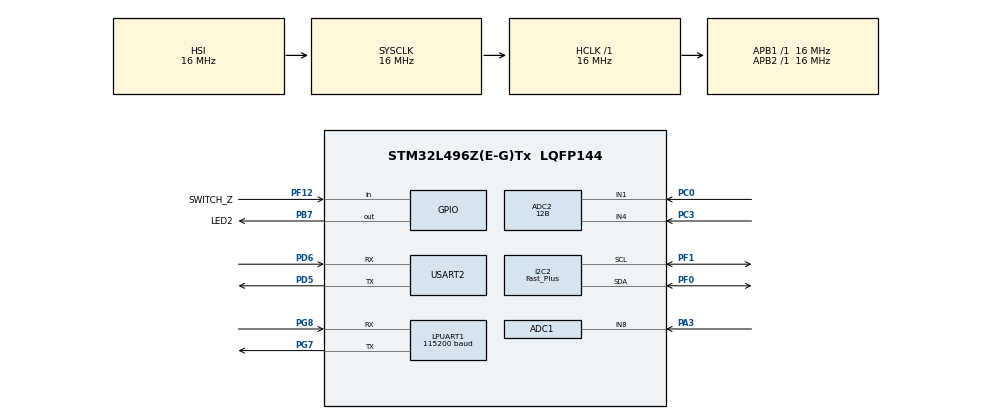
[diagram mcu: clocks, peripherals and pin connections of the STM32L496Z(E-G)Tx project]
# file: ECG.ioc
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ADC1.Channel-32\#ChannelRegularConversion=ADC_CHANNEL_8
ADC1.ClockPrescaler=ADC_CLOCK_ASYNC_DIV1
ADC1.ContinuousConvMode=ENABLE
ADC1.DMAContinuousRequests=DISABLE
ADC1.DataAlign=ADC_DATAALIGN_RIGHT
ADC1.DiscontinuousConvMode=DISABLE
ADC1.EOCSelection=ADC_EOC_SINGLE_CONV
ADC1.EnableAnalogWatchDog1=false
ADC1.EnableAnalogWatchDog2=false
ADC1.EnableAnalogWatchDog3=false
ADC1.EnableInjectedConversion=DISABLE
ADC1.EnableRegularConversion=ENABLE
ADC1.ExternalTrigConv=ADC_SOFTWARE_START
ADC1.ExternalTrigConvEdge=ADC_EXTERNALTRIGCONVEDGE_NONE
ADC1.LowPowerAutoWait=DISABLE
ADC1.NbrOfConversion=1
ADC1.NbrOfConversionFlag=1
ADC1.OffsetNumber-32\#ChannelRegularConversion=ADC_OFFSET_NONE
ADC1.Overrun=ADC_OVR_DATA_PRESERVED
ADC1.OversamplingMode=DISABLE
ADC1.Rank-32\#ChannelRegularConversion=1
ADC1.Resolution=ADC_RESOLUTION_12B
ADC1.SamplingTime-32\#ChannelRegularConversion=ADC_SAMPLETIME_47CYCLES_5
ADC1.ScanConvMode=ADC_SCAN_DISABLE
ADC1.master=1
ADC2.Channel-0\#ChannelRegularConversion=ADC_CHANNEL_1
ADC2.Channel-1\#ChannelRegularConversion=ADC_CHANNEL_4
ADC2.ClockPrescaler=ADC_CLOCK_ASYNC_DIV1
ADC2.ContinuousConvMode=DISABLE
ADC2.DMAContinuousRequests=DISABLE
ADC2.DataAlign=ADC_DATAALIGN_RIGHT
ADC2.DiscontinuousConvMode=DISABLE
ADC2.EOCSelection=ADC_EOC_SEQ_CONV
ADC2.EnableAnalogWatchDog1=false
ADC2.EnableAnalogWatchDog2=false
ADC2.EnableAnalogWatchDog3=false
ADC2.EnableInjectedConversion=DISABLE
ADC2.EnableRegularConversion=ENABLE
ADC2.ExternalTrigConv=ADC_SOFTWARE_START
ADC2.ExternalTrigConvEdge=ADC_EXTERNALTRIGCONVEDGE_NONE
ADC2.LowPowerAutoWait=DISABLE
ADC2.NbrOfConversion=2
ADC2.NbrOfConversionFlag=1
ADC2.OffsetNumber-0\#ChannelRegularConversion=ADC_OFFSET_NONE
ADC2.OffsetNumber-1\#ChannelRegularConversion=ADC_OFFSET_NONE
ADC2.Overrun=ADC_OVR_DATA_PRESERVED
ADC2.OversamplingMode=DISABLE
ADC2.Rank-0\#ChannelRegularConversion=1
ADC2.Rank-1\#ChannelRegularConversion=2
ADC2.Resolution=ADC_RESOLUTION_12B
ADC2.SamplingTime-0\#ChannelRegularConversion=ADC_SAMPLETIME_2CYCLES_5
ADC2.SamplingTime-1\#ChannelRegularConversion=ADC_SAMPLETIME_2CYCLES_5
ADC2.ScanConvMode=ADC_SCAN_ENABLE
Dma.ADC1.1.Direction=DMA_PERIPH_TO_MEMORY
Dma.ADC1.1.Instance=DMA1_Channel1
Dma.ADC1.1.MemDataAlignment=DMA_MDATAALIGN_HALFWORD
Dma.ADC1.1.MemInc=DMA_MINC_ENABLE
Dma.ADC1.1.Mode=DMA_NORMAL
Dma.ADC1.1.PeriphDataAlignment=DMA_PDATAALIGN_HALFWORD
Dma.ADC1.1.PeriphInc=DMA_PINC_DISABLE
Dma.ADC1.1.Priority=DMA_PRIORITY_HIGH
Dma.ADC2.0.Direction=DMA_PERIPH_TO_MEMORY
Dma.ADC2.0.Instance=DMA1_Channel2
Dma.ADC2.0.MemDataAlignment=DMA_MDATAALIGN_HALFWORD
Dma.ADC2.0.MemInc=DMA_MINC_ENABLE
Dma.ADC2.0.Mode=DMA_NORMAL
Dma.ADC2.0.PeriphDataAlignment=DMA_PDATAALIGN_HALFWORD
Dma.ADC2.0.PeriphInc=DMA_PINC_DISABLE
Dma.ADC2.0.Priority=DMA_PRIORITY_HIGH
Dma.Request0=ADC2
Dma.Request1=ADC1
I2C2.I2C_Speed_Mode=I2C_Fast_Plus
I2C2.Timing=0x00000107
LPUART1.BaudRate=115200
LPUART1.WordLength=UART_WORDLENGTH_8B
Mcu.Family=STM32L4
Mcu.Name=STM32L496Z(E-G)Tx
Mcu.Package=LQFP144
NVIC.DMA1_Channel1_IRQn=true\:0\:0\:false\:false\:true\:false
NVIC.DMA1_Channel2_IRQn=true\:0\:0\:false\:false\:true\:false
NVIC.LPUART1_IRQn=true\:0\:0\:false\:false\:true\:true
NVIC.PriorityGroup=NVIC_PRIORITYGROUP_4
NVIC.USART2_IRQn=true\:0\:0\:false\:false\:true\:true
PA13\ (JTMS/SWDIO).Mode=Serial_Wire
PA13\ (JTMS/SWDIO).Signal=SYS_JTMS-SWDIO
PA14\ (JTCK/SWCLK).Mode=Serial_Wire
PA14\ (JTCK/SWCLK).Signal=SYS_JTCK-SWCLK
PA3.Signal=ADCx_IN8
PB7.GPIO_Label=LED2
PB7.Signal=GPIO_Output
PC0.Signal=ADCx_IN1
PC3.Signal=ADCx_IN4
PD5.Mode=Asynchronous
PD5.Signal=USART2_TX
PD6.Mode=Asynchronous
PD6.Signal=USART2_RX
PF0.Mode=I2C
PF0.Signal=I2C2_SDA
PF1.Mode=I2C
PF1.Signal=I2C2_SCL
PF12.GPIO_Label=SWITCH_Z
PF12.Signal=GPIO_Input
PG7.Mode=Asynchronous
PG7.Signal=LPUART1_TX
PG8.Mode=Asynchronous
PG8.Signal=LPUART1_RX
ProjectManager.HeapSize=0x200
ProjectManager.StackSize=0x400
ProjectManager.TargetToolchain=MDK-ARM V5
RCC.ADCFreq_Value=32000000
RCC.AHBFreq_Value=16000000
RCC.APB1Freq_Value=16000000
RCC.APB1TimFreq_Value=16000000
RCC.APB2Freq_Value=16000000
RCC.APB2TimFreq_Value=16000000
RCC.CortexFreq_Value=16000000
RCC.HCLKFreq_Value=16000000
RCC.HSE_VALUE=8000000
RCC.HSI48_VALUE=48000000
RCC.HSI_VALUE=16000000
RCC.LSE_VALUE=32768
RCC.MSI_VALUE=4000000
RCC.PLLSAI1N=16
RCC.SYSCLKFreq_VALUE=16000000
RCC.SYSCLKSource=RCC_SYSCLKSOURCE_HSI
RCC.USBFreq_Value=32000000
RCC.VCOOutputFreq_Value=32000000
SH.ADCx_IN1.0=ADC2_IN1,IN1-Single-Ended
SH.ADCx_IN4.0=ADC2_IN4,IN4-Single-Ended
SH.ADCx_IN8.0=ADC1_IN8,IN8-Single-Ended
USART2.VirtualMode-Asynchronous=VM_ASYNC
USART2.WordLength=WORDLENGTH_8B
board=ECG

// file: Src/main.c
/**
  ******************************************************************************
  * @file           : main.c
  * @brief          : Main program body
  ******************************************************************************
  ** This notice applies to any and all portions of this file
  * that are not between comment pairs USER CODE BEGIN and
  * USER CODE END. Other portions of this file, whether
  * inserted by the user or by software development tools
  * are owned by their respective copyright owners.
  *
  * COPYRIGHT(c) 2023 STMicroelectronics
  *
  * Redistribution and use in source and binary forms, with or without modification,
  * are permitted provided that the following conditions are met:
  *   1. Redistributions of source code must retain the above copyright notice,
  *      this list of conditions and the following disclaimer.
  *   2. Redistributions in binary form must reproduce the above copyright notice,
  *      this list of conditions and the following disclaimer in the documentation
  *      and/or other materials provided with the distribution.
  *   3. Neither the name of STMicroelectronics nor the names of its contributors
  *      may be used to endorse or promote products derived from this software
  *      without specific prior written permission.
  *
  * THIS SOFTWARE IS PROVIDED BY THE COPYRIGHT HOLDERS AND CONTRIBUTORS "AS IS"
  * AND ANY EXPRESS OR IMPLIED WARRANTIES, INCLUDING, BUT NOT LIMITED TO, THE
  * IMPLIED WARRANTIES OF MERCHANTABILITY AND FITNESS FOR A PARTICULAR PURPOSE ARE
  * DISCLAIMED. IN NO EVENT SHALL THE COPYRIGHT HOLDER OR CONTRIBUTORS BE LIABLE
  * FOR ANY DIRECT, INDIRECT, INCIDENTAL, SPECIAL, EXEMPLARY, OR CONSEQUENTIAL
  * DAMAGES (INCLUDING, BUT NOT LIMITED TO, PROCUREMENT OF SUBSTITUTE GOODS OR
  * SERVICES; LOSS OF USE, DATA, OR PROFITS; OR BUSINESS INTERRUPTION) HOWEVER
  * CAUSED AND ON ANY THEORY OF LIABILITY, WHETHER IN CONTRACT, STRICT LIABILITY,
  * OR TORT (INCLUDING NEGLIGENCE OR OTHERWISE) ARISING IN ANY WAY OUT OF THE USE
  * OF THIS SOFTWARE, EVEN IF ADVISED OF THE POSSIBILITY OF SUCH DAMAGE.
  *
  ******************************************************************************
  */
#include "main.h"
#include "stm32l4xx_hal.h"
#include "adc.h"
#include "dma.h"
#include "i2c.h"
#include "usart.h"
#include "gpio.h"

/* USER CODE BEGIN Includes */
#include "oled.h"
#include "cli.h"
#include "menuconfig.h"
#include "ecg.h"
#include "serial.h"

#include "taskmy.h"
/* USER CODE END Includes */

/* USER CODE BEGIN PV */
/* Private variables ---------------------------------------------------------*/
extern UART_HandleTypeDef hlpuart1;
extern UART_HandleTypeDef huart2;

extern Serial serial2;
extern Serial seriallp1;

extern int flag;
/* USER CODE END PV */

void SystemClock_Config(void);

/* USER CODE BEGIN PFP */
/* Private function prototypes -----------------------------------------------*/

/* USER CODE END PFP */

int main(void)
{

  /* MCU Configuration----------------------------------------------------------*/

  /* Reset of all peripherals, Initializes the Flash interface and the Systick. */
  HAL_Init();

  /* Configure the system clock */
  SystemClock_Config();

  /* Initialize all configured peripherals */
  MX_GPIO_Init();
  MX_DMA_Init();
  MX_I2C2_Init();
  MX_USART2_UART_Init();
  MX_LPUART1_UART_Init();
  MX_ADC1_Init();
  MX_ADC2_Init();
  /* USER CODE BEGIN 2 */
	/* 启动LPUART1接收中断 */
  while(HAL_UART_Receive_IT(&hlpuart1, (uint8_t *)&seriallp1.dataRxBuffer, 1)!=HAL_OK);
  /* 启动USART2接收中断 */
  while(HAL_UART_Receive_IT(&huart2, (uint8_t *)&serial2.dataRxBuffer, 1)!=HAL_OK);
  /* 启动ADC2校准*/
  HAL_ADCEx_Calibration_Start(&hadc2,ADC_SINGLE_ENDED);
  /* 启动ADC1校准*/
  HAL_ADCEx_Calibration_Start(&hadc1,ADC_SINGLE_ENDED);

  AppTaskCreateStart();
  //
	//MenuShow_Load_Shell(NULL);
  //MenuShow_Exit_Shell(NULL);
	//MenuShow_Exit_Info(NULL);
	//MenuShow_Switch_Out_Info(NULL);
	//MenuShow_Switch_In_WiFi(NULL);
	//
			//HAL_GPIO_WritePin(LED2_GPIO_Port, LED2_Pin, GPIO_PIN_SET);
  /* USER CODE END 2 */

  /* Infinite loop */
  /* USER CODE BEGIN WHILE */
  /*
	while (1){
    ECG_GetValue();
    Serial_SendNum(hlpuart1,data[0]);
    //WIFI_MQTT_PublishNum("ECG",data[0]);
    //OLED_DrawNumber(0,0,data[0],ASC2_1206);
    HAL_Delay(5);  //采样频率约为500Hz
  }*/
		/*
		while(Serial_ReadAvailable(huart2))
		{
			uint8_t data = Serial_ReadChar(huart2);
			Serial_SendChar(hlpuart1,data);
		}*/
		//cli_Check();
		//WIFI_MQTT_PublishNum("ECG",i++);
		//HAL_Delay(200);
  /* USER CODE END WHILE */

  /* USER CODE BEGIN 3 */
		//HAL_GPIO_WritePin(LED2_GPIO_Port, LED2_Pin, GPIO_PIN_RESET);
		//HAL_Delay(500);
		//HAL_GPIO_WritePin(LED2_GPIO_Port, LED2_Pin, GPIO_PIN_SET);
		//HAL_Delay(500);
  /* USER CODE END 3 */

}

void SystemClock_Config(void)
{

  RCC_OscInitTypeDef RCC_OscInitStruct;
  RCC_ClkInitTypeDef RCC_ClkInitStruct;
  RCC_PeriphCLKInitTypeDef PeriphClkInit;

    /**Initializes the CPU, AHB and APB busses clocks
    */
  RCC_OscInitStruct.OscillatorType = RCC_OSCILLATORTYPE_HSI|RCC_OSCILLATORTYPE_MSI;
  RCC_OscInitStruct.HSIState = RCC_HSI_ON;
  RCC_OscInitStruct.HSICalibrationValue = 64;
  RCC_OscInitStruct.MSIState = RCC_MSI_ON;
  RCC_OscInitStruct.MSICalibrationValue = 0;
  RCC_OscInitStruct.MSIClockRange = RCC_MSIRANGE_6;
  RCC_OscInitStruct.PLL.PLLState = RCC_PLL_NONE;
  if (HAL_RCC_OscConfig(&RCC_OscInitStruct) != HAL_OK)
  {
    _Error_Handler(__FILE__, __LINE__);
  }

    /**Initializes the CPU, AHB and APB busses clocks
    */
  RCC_ClkInitStruct.ClockType = RCC_CLOCKTYPE_HCLK|RCC_CLOCKTYPE_SYSCLK
                              |RCC_CLOCKTYPE_PCLK1|RCC_CLOCKTYPE_PCLK2;
  RCC_ClkInitStruct.SYSCLKSource = RCC_SYSCLKSOURCE_HSI;
  RCC_ClkInitStruct.AHBCLKDivider = RCC_SYSCLK_DIV1;
  RCC_ClkInitStruct.APB1CLKDivider = RCC_HCLK_DIV1;
  RCC_ClkInitStruct.APB2CLKDivider = RCC_HCLK_DIV1;

  if (HAL_RCC_ClockConfig(&RCC_ClkInitStruct, FLASH_LATENCY_0) != HAL_OK)
  {
    _Error_Handler(__FILE__, __LINE__);
  }

  PeriphClkInit.PeriphClockSelection = RCC_PERIPHCLK_USART2|RCC_PERIPHCLK_LPUART1
                              |RCC_PERIPHCLK_I2C2|RCC_PERIPHCLK_ADC;
  PeriphClkInit.Usart2ClockSelection = RCC_USART2CLKSOURCE_PCLK1;
  PeriphClkInit.Lpuart1ClockSelection = RCC_LPUART1CLKSOURCE_PCLK1;
  PeriphClkInit.I2c2ClockSelection = RCC_I2C2CLKSOURCE_PCLK1;
  PeriphClkInit.AdcClockSelection = RCC_ADCCLKSOURCE_PLLSAI1;
  PeriphClkInit.PLLSAI1.PLLSAI1Source = RCC_PLLSOURCE_MSI;
  PeriphClkInit.PLLSAI1.PLLSAI1M = 1;
  PeriphClkInit.PLLSAI1.PLLSAI1N = 16;
  PeriphClkInit.PLLSAI1.PLLSAI1P = RCC_PLLP_DIV2;
  PeriphClkInit.PLLSAI1.PLLSAI1Q = RCC_PLLQ_DIV2;
  PeriphClkInit.PLLSAI1.PLLSAI1R = RCC_PLLR_DIV2;
  PeriphClkInit.PLLSAI1.PLLSAI1ClockOut = RCC_PLLSAI1_ADC1CLK;
  if (HAL_RCCEx_PeriphCLKConfig(&PeriphClkInit) != HAL_OK)
  {
    _Error_Handler(__FILE__, __LINE__);
  }

    /**Configure the main internal regulator output voltage
    */
  if (HAL_PWREx_ControlVoltageScaling(PWR_REGULATOR_VOLTAGE_SCALE1) != HAL_OK)
  {
    _Error_Handler(__FILE__, __LINE__);
  }

    /**Configure the Systick interrupt time
    */
  HAL_SYSTICK_Config(HAL_RCC_GetHCLKFreq()/1000);

    /**Configure the Systick
    */
  HAL_SYSTICK_CLKSourceConfig(SYSTICK_CLKSOURCE_HCLK);

  /* SysTick_IRQn interrupt configuration */
  HAL_NVIC_SetPriority(SysTick_IRQn, 0, 0);
}

void _Error_Handler(char *file, int line)
{
  while(1)
  {
  }
}

/************************ (C) COPYRIGHT STMicroelectronics *****END OF FILE****/
